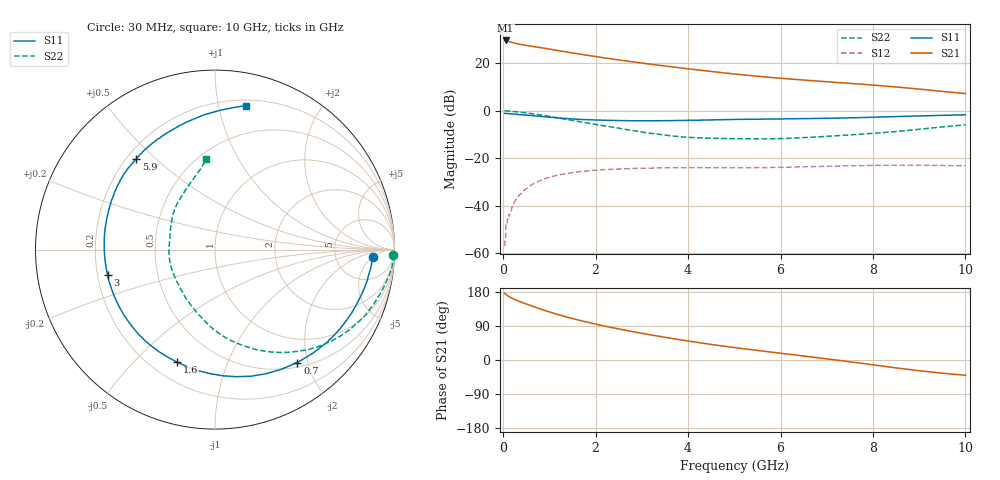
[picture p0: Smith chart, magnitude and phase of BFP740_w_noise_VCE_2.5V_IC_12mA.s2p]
! (c) 2013  Infineon Technologies AG, Munich
! Infineon Technologies  Discrete & RF Semiconductors
! BFP740
! VCE =  2.5 V,  IC =  12 mA
! Common Emitter S-Parameters:  Mar 2013
# GHz  S  MA  R  50
!  f  S11  S21  S12  S22
! GHz  MAG  ANG  MAG  ANG  MAG  ANG  MAG  ANG
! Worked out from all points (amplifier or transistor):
!   99 points, 30 MHz to 10 GHz, reference 50 ohm
!   highest |S21| = 29.6 dB at 50 MHz (marker M1)
!   |S21| within 3 dB of that: start of sweep to 802.2 MHz
!   unconditionally stable (mu >= 1): 6.922 GHz to end of sweep
!   at 350 MHz: K = 0.17, MSG = 31.8 dB, |S12| = -35.5 dB
!   at 3.5 GHz: K = 0.60, MSG = 21.5 dB, |S12| = -24.1 dB
!   at 10 GHz: K = 1.06, MAG = 13.7 dB, |S12| = -23.2 dB
!   lowest NFmin = 0.54 dB at 450 MHz
!   S11 on the Smith chart (normalised r, x): 30 MHz: 14, -5; 700 MHz: 0.57, -1.83; 1.6 GHz: 0.30, -0.67; 3 GHz: 0.24, -0.11; 5.9 GHz: 0.24, +0.44; 10 GHz: 0.25, +1.21
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0.03  0.8789 -2.6  30.23 176.1  0.0014 65.6  0.9949 -1.7
0.05  0.8758 -4.5  30.28 174.3  0.002 70.0  0.9927 -3.1
0.08  0.8732 -7.0  29.68 171.2  0.004 93.9  0.9917 -4.8
0.13  0.8665 -11.3  28.65 167.0  0.006 83.3  0.9827 -7.8
0.25  0.8464 -20.9  26.62 159.6  0.0123 77.2  0.9573 -14.0
0.45  0.8168 -36.0  24.31 149.9  0.021 70.1  0.9132 -23.7
0.7  0.7787 -53.9  22.14 139.1  0.0305 61.1  0.8468 -34.9
0.9  0.7475 -67.8  20.72 130.7  0.0371 53.8  0.7886 -43.3
1.1  0.7181 -80.4  19.18 123.0  0.0422 47.7  0.7297 -51.0
1.3  0.6915 -92.3  17.78 115.9  0.0462 42.5  0.675 -58.1
1.6  0.6619 -108.7  15.97 106.2  0.0513 35.7  0.6018 -67.7
1.7  0.6545 -113.7  15.4 103.2  0.0524 33.6  0.5776 -70.7
2.1  0.635 -132.6  13.42 91.9  0.0566 26.4  0.4961 -82.8
2.3  0.6268 -140.9  12.55 86.7  0.0582 23.3  0.4613 -88.2
3  0.6152 -166.7  10.11 70.5  0.0613 14.7  0.3569 -108.0
3.4  0.617 -179.7  9.021 62.0  0.0624 10.5  0.3159 -120.7
4.1  0.6295 161.2  7.466 48.3  0.0632 4.6  0.2718 -144.5
5.1  0.6566 141.6  5.829 31.3  0.0632 -0.8  0.2578 -173.0
5.9  0.67 130.8  4.926 19.4  0.064 -3.4  0.2576 168.9
6.7  0.6873 120.8  4.291 7.5  0.0665 -6.6  0.2777 152.6
8.5  0.754 94.5  3.169 -20.8  0.0711 -16.7  0.364 118.0
10  0.8207 77.9  2.3 -40.3  0.0694 -23.9  0.5049 95.5
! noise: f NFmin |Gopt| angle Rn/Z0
0.45  0.54  0.16  4  0.16
0.9  0.55  0.16  11  0.16
1.5  0.57  0.15  22  0.15
1.9  0.6  0.15  39  0.15
2.4  0.63  0.15  46  0.14
3.5  0.73  0.13  57  0.13
5.5  0.9  0.16  211  0.12
10  1.33  0.5  -72  0.16
